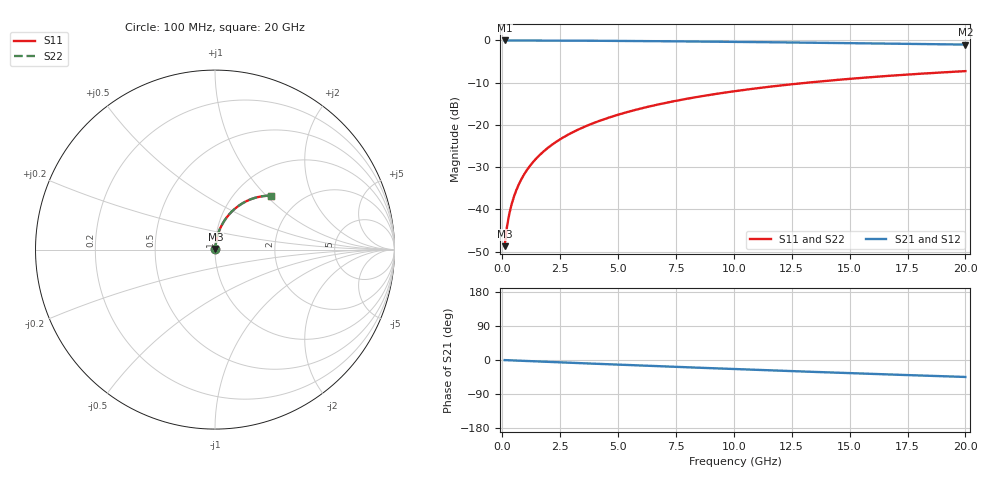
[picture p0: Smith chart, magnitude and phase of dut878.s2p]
! Touchstone file exported from HFSS 2026.1.0
!  File:  C:/ffzhzh/LocalFiles/Ansys_Project_Files/temp_train_TMRDL_878_1783157428_51560.aedt
!  Generated:  05:31:47 PM Jul  4, 2026
!  Design:  TMRDL
!  Project:  temp_train_TMRDL_878_1783157428_51560
! Variables:
!  h_bsmrdl = 2um
!  h_ox = 20um
!  h_rdl = 5um
!  h_sub = 80um
!  h_tmrdl = 4.96um
!  h_tsv = 80um
!  h_via = 3um
!  l_bsmrdl = 300um
!  l_sub = 1038.78um
!  l_tmrdl = 638.78um
!  m_sub = 200um
!  pitch = 56.46um
!  r_tsv = 6um
!  s_tmrdl = 10um
!  w_bsmrdl = 18um
!  w_sub = 500um
!  w_tmrdl = 21.62um
!  x_tsv_center1 = 649.59um
!  x_tsv_center2 = 967.59um
!  x_tsv_center3 = 1627.99um
!  x_tsv_center4 = 1945.99um
!  x_tsv_center5 = 2606.39um
!  x_tsv_center6 = 2924.39um
# GHz S MA R 50.000000
! Terminal data exported
! Port[1] = TM_RDL1_1_T1
! Port[2] = TM_RDL1_1_T2
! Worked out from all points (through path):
!   200 points, 100 MHz to 20 GHz, reference 50 ohm
!   highest |S21| = -0.02 dB at 100 MHz (marker M1); lowest = -1.0 dB at 20 GHz (marker M2)
!   group delay of S21, straight-line fit = 6.22 ps
!   lowest |S11| = -48.7 dB at 100 MHz (marker M3), VSWR 1.01, Z = 50.2 + j0.291 ohm
!   |S11| at or under -10 dB: start of sweep to 13.18 GHz
!   |S22| runs from -48.7 to -7.3 dB; largest |S21 - S12| = 2.1e-15
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0.1  0.003681 51.8  0.9977 -0.3  0.9977 -0.3  0.003681 51.8
! Gamma 0 0 0 0
! Port Impedance 50 0 50 0
0.2  0.006183 66.7  0.9976 -0.5  0.9976 -0.5  0.006183 66.7
0.3  0.008794 72.7  0.9975 -0.8  0.9975 -0.8  0.008794 72.7
0.4  0.01143 76.0  0.9974 -1.0  0.9974 -1.0  0.01143 76.0
0.5  0.01409 78.0  0.9973 -1.3  0.9973 -1.3  0.01409 78.0
0.7  0.01945 80.2  0.9971 -1.8  0.9971 -1.8  0.01945 80.2
0.8  0.02214 80.8  0.997 -2.0  0.997 -2.0  0.02214 80.8
1  0.02752 81.6  0.9968 -2.5  0.9968 -2.5  0.02752 81.6
1.2  0.03291 81.9  0.9965 -3.0  0.9965 -3.0  0.03291 81.9
1.4  0.0383 82.0  0.9962 -3.5  0.9962 -3.5  0.0383 82.0
1.7  0.04636 81.8  0.9957 -4.2  0.9957 -4.2  0.04636 81.8
2  0.05438 81.4  0.9951 -5.0  0.9951 -5.0  0.05438 81.4
2.7  0.07294 80.3  0.9934 -6.7  0.9934 -6.7  0.07294 80.2
3.5  0.09382 78.6  0.9911 -8.6  0.9911 -8.6  0.09382 78.6
4.2  0.1118 77.1  0.9887 -10.3  0.9887 -10.3  0.1118 77.1
5  0.132 75.4  0.9857 -12.2  0.9857 -12.2  0.132 75.4
6.8  0.1762 71.4  0.9777 -16.5  0.9777 -16.5  0.1762 71.4
8.3  0.2115 68.1  0.97 -19.9  0.97 -19.9  0.2115 68.1
10.1  0.252 64.2  0.9597 -24.0  0.9597 -24.0  0.252 64.2
13.4  0.3204 57.2  0.9383 -31.3  0.9383 -31.3  0.3204 57.1
16.7  0.3807 50.4  0.9152 -38.2  0.9152 -38.2  0.3807 50.4
20  0.4327 44.0  0.8917 -44.7  0.8917 -44.7  0.4327 44.0
